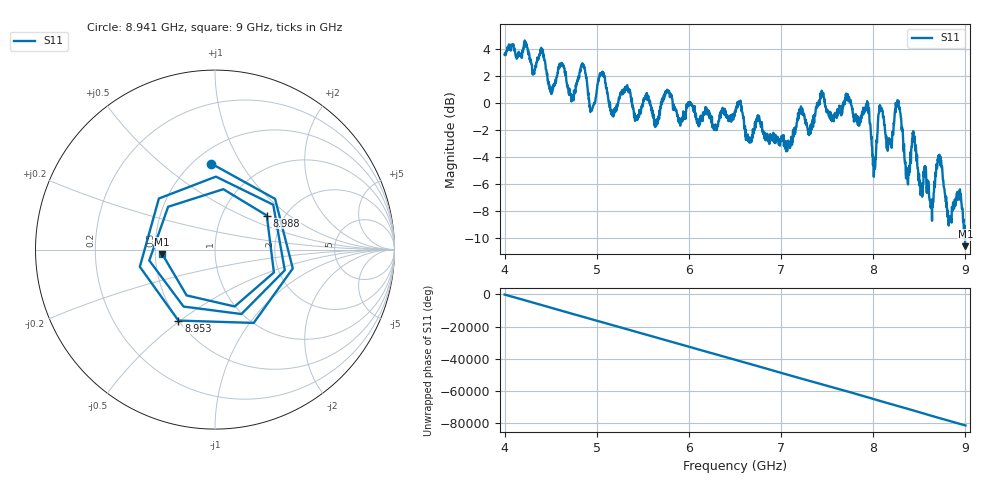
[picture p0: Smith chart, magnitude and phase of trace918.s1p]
! Created with skrf 1.8.0 (http://scikit-rf.org).
# Hz S RI R 50.0
!freq ReS11 ImS11
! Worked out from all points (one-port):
!   1601 points, 4 GHz to 9 GHz, reference 50 ohm
!   lowest |S11| = -10.6 dB at 9 GHz (marker M1), VSWR 1.84, Z = 27.2 - j1.47 ohm
!   |S11| at or under -10 dB: 8.99559 GHz to end of sweep
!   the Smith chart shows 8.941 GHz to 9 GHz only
!   S11 on the Smith chart (normalised r, x): 8.941 GHz: 0.61, +0.75; 8.953 GHz: 0.50, -0.49; 8.988 GHz: 1.62, +0.70; 9 GHz: 0.54, -0.03
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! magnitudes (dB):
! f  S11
! 4 GHz  3.6
! 4.4 GHz  4.1
! 4.506 GHz  0.7
! 4.625 GHz  2.8
! 4.731 GHz  0.6
! 4.853 GHz  2.7
! 4.944 GHz  -0.5
! 5.05 GHz  2.1
! 5.166 GHz  -0.7
! 5.25 GHz  0.5
! 5.875 GHz  -0.8
! 6.5 GHz  -0.7
! 7.125 GHz  -2.9
! 7.75 GHz  0.1
! 7.934 GHz  0.2
! 8.009 GHz  -5.0
! 8.078 GHz  -0.6
! 8.178 GHz  -3.0
! 8.269 GHz  0.2
! 8.375 GHz  -6.0
! 8.438 GHz  -2.2
! 8.631 GHz  -7.4
! 8.712 GHz  -4.3
! 8.825 GHz  -8.8
! 8.941 GHz  -6.4
! 8.953 GHz  -7.0
! 8.988 GHz  -9.2
! 9 GHz  -10.6
